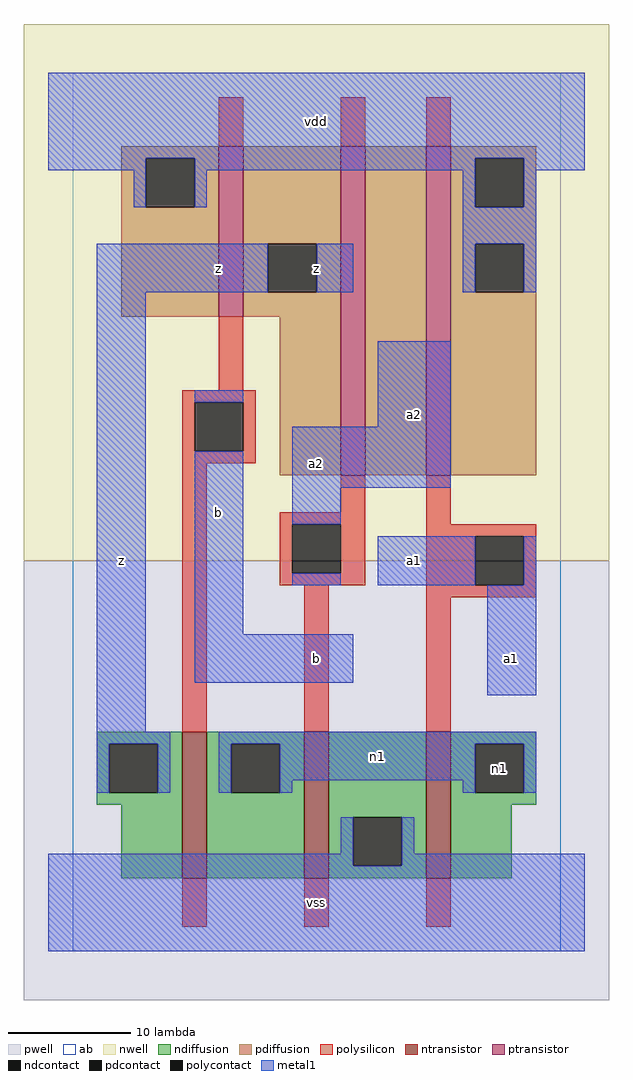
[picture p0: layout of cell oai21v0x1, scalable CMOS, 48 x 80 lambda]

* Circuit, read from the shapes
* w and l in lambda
.subckt oai21v0x1 a1 a2 b n1 vdd vss z
M1 n1 b z VSUBS nfet w=12 l=2
M2 vss a2 n1 VSUBS nfet w=12 l=2
M3 n1 a1 vss VSUBS nfet w=12 l=2
M4 z b vdd n2 pfet w=14 l=2
M5 n3 a2 z n2 pfet w=27 l=2
M6 vdd a1 n3 n2 pfet w=27 l=2
.ends

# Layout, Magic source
magic
tech scmos
<< ab >>
rect 0 0 40 72
<< pwell >>
rect -4 -4 44 32
<< nwell >>
rect -4 32 44 76
<< polysilicon >>
rect 12 66 14 70
rect 22 66 24 70
rect 29 66 31 70
rect 12 46 14 52
rect 9 45 15 46
rect 9 41 10 45
rect 14 41 15 45
rect 9 40 15 41
rect 9 18 11 40
rect 22 36 24 39
rect 17 35 24 36
rect 17 31 18 35
rect 22 31 24 35
rect 17 30 24 31
rect 29 35 31 39
rect 29 34 38 35
rect 29 30 33 34
rect 37 30 38 34
rect 19 18 21 30
rect 29 29 38 30
rect 29 18 31 29
rect 9 2 11 6
rect 19 2 21 6
rect 29 2 31 6
<< ndiffusion >>
rect 2 17 9 18
rect 2 13 3 17
rect 7 13 9 17
rect 2 12 9 13
rect 4 6 9 12
rect 11 17 19 18
rect 11 13 13 17
rect 17 13 19 17
rect 11 6 19 13
rect 21 11 29 18
rect 21 7 23 11
rect 27 7 29 11
rect 21 6 29 7
rect 31 17 38 18
rect 31 13 33 17
rect 37 13 38 17
rect 31 12 38 13
rect 31 6 36 12
<< pdiffusion >>
rect 4 65 12 66
rect 4 61 6 65
rect 10 61 12 65
rect 4 52 12 61
rect 14 58 22 66
rect 14 54 16 58
rect 20 54 22 58
rect 14 52 22 54
rect 17 39 22 52
rect 24 39 29 66
rect 31 65 38 66
rect 31 61 33 65
rect 37 61 38 65
rect 31 58 38 61
rect 31 54 33 58
rect 37 54 38 58
rect 31 39 38 54
<< metal1 >>
rect -2 65 42 72
rect -2 64 6 65
rect 5 61 6 64
rect 10 64 33 65
rect 10 61 11 64
rect 32 61 33 64
rect 37 64 42 65
rect 37 61 38 64
rect 32 58 38 61
rect 2 54 16 58
rect 20 54 23 58
rect 32 54 33 58
rect 37 54 38 58
rect 2 18 6 54
rect 10 45 14 46
rect 25 43 31 50
rect 10 26 14 41
rect 18 38 31 43
rect 18 35 22 38
rect 18 30 22 31
rect 25 30 33 34
rect 37 30 38 34
rect 10 22 23 26
rect 34 21 38 30
rect 2 17 8 18
rect 2 13 3 17
rect 7 13 8 17
rect 12 17 38 18
rect 12 13 13 17
rect 17 14 33 17
rect 17 13 18 14
rect 32 13 33 14
rect 37 13 38 17
rect 22 8 23 11
rect -2 7 23 8
rect 27 8 28 11
rect 27 7 42 8
rect -2 0 42 7
<< ntransistor >>
rect 9 6 11 18
rect 19 6 21 18
rect 29 6 31 18
<< ptransistor >>
rect 12 52 14 66
rect 22 39 24 66
rect 29 39 31 66
<< polycontact >>
rect 10 41 14 45
rect 18 31 22 35
rect 33 30 37 34
<< ndcontact >>
rect 3 13 7 17
rect 13 13 17 17
rect 23 7 27 11
rect 33 13 37 17
<< pdcontact >>
rect 6 61 10 65
rect 16 54 20 58
rect 33 61 37 65
rect 33 54 37 58
<< labels >>
rlabel metal1 4 32 4 32 6 z
rlabel metal1 12 36 12 36 6 b
rlabel metal1 12 56 12 56 6 z
rlabel metal1 20 4 20 4 6 vss
rlabel metal1 20 24 20 24 6 b
rlabel metal1 28 32 28 32 6 a1
rlabel metal1 20 40 20 40 6 a2
rlabel metal1 28 44 28 44 6 a2
rlabel metal1 20 56 20 56 6 z
rlabel metal1 20 68 20 68 6 vdd
rlabel ndcontact 35 15 35 15 6 n1
rlabel metal1 25 16 25 16 6 n1
rlabel metal1 36 24 36 24 6 a1
<< end >>
